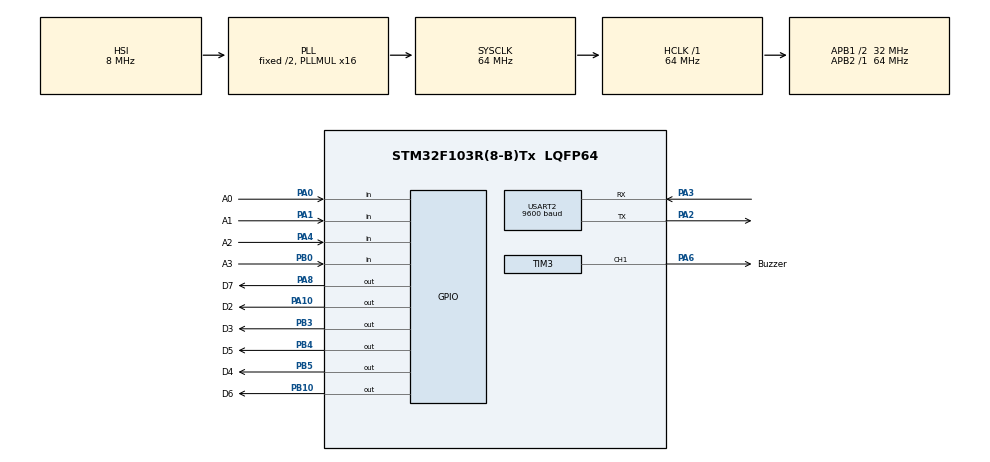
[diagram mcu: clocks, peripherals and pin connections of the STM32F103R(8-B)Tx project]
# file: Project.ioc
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Mcu.Family=STM32F1
Mcu.Name=STM32F103R(8-B)Tx
Mcu.Package=LQFP64
NVIC.PriorityGroup=NVIC_PRIORITYGROUP_4
NVIC.TIM2_IRQn=true\:0\:0\:false\:false\:true\:true\:true
NVIC.TIM3_IRQn=true\:0\:0\:false\:false\:true\:true\:true
NVIC.USART2_IRQn=true\:0\:0\:false\:false\:true\:true\:true
PA0-WKUP.GPIO_Label=A0
PA0-WKUP.GPIO_PuPd=GPIO_PULLUP
PA0-WKUP.Signal=GPIO_Input
PA1.GPIO_Label=A1
PA1.GPIO_PuPd=GPIO_PULLUP
PA1.Signal=GPIO_Input
PA10.GPIO_Label=D2
PA10.Signal=GPIO_Output
PA13.Mode=Serial_Wire
PA13.Signal=SYS_JTMS-SWDIO
PA14.Mode=Serial_Wire
PA14.Signal=SYS_JTCK-SWCLK
PA2.Mode=Asynchronous
PA2.Signal=USART2_TX
PA3.Mode=Asynchronous
PA3.Signal=USART2_RX
PA4.GPIO_Label=A2
PA4.GPIO_PuPd=GPIO_PULLUP
PA4.Signal=GPIO_Input
PA6.GPIO_Label=Buzzer
PA6.Signal=S_TIM3_CH1
PA8.GPIO_Label=D7
PA8.Signal=GPIO_Output
PB0.GPIO_Label=A3
PB0.GPIO_PuPd=GPIO_PULLUP
PB0.Signal=GPIO_Input
PB10.GPIO_Label=D6
PB10.Signal=GPIO_Output
PB3.GPIO_Label=D3
PB3.Signal=GPIO_Output
PB4.GPIO_Label=D5
PB4.Signal=GPIO_Output
PB5.GPIO_Label=D4
PB5.Signal=GPIO_Output
ProjectManager.HeapSize=0x200
ProjectManager.StackSize=0x400
ProjectManager.TargetToolchain=STM32CubeIDE
RCC.AHBFreq_Value=64000000
RCC.APB1CLKDivider=RCC_HCLK_DIV2
RCC.APB1Freq_Value=32000000
RCC.APB1TimFreq_Value=64000000
RCC.APB2Freq_Value=64000000
RCC.APB2TimFreq_Value=64000000
RCC.HCLKFreq_Value=64000000
RCC.PLLMUL=RCC_PLL_MUL16
RCC.SYSCLKFreq_VALUE=64000000
RCC.SYSCLKSource=RCC_SYSCLKSOURCE_PLLCLK
RCC.USBFreq_Value=64000000
SH.S_TIM3_CH1.0=TIM3_CH1,PWM Generation1 CH1
TIM2.Period=9
TIM2.Prescaler=63999
TIM3.Channel-PWM\ Generation1\ CH1=TIM_CHANNEL_1
TIM3.Period=9
TIM3.Prescaler=63999
USART2.BaudRate=9600
USART2.VirtualMode=VM_ASYNC
VP_TIM2_VS_ClockSourceINT.Mode=Internal
VP_TIM3_VS_ClockSourceINT.Mode=Internal
board=custom

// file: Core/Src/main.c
/* USER CODE BEGIN Header */
/**
  ******************************************************************************
  * @file           : main.c
  * @brief          : Main program body
  ******************************************************************************
  * @attention
  *
  * <h2><center>&copy; Copyright (c) 2022 STMicroelectronics.
  * All rights reserved.</center></h2>
  *
  * This software component is licensed by ST under BSD 3-Clause license,
  * the "License"; You may not use this file except in compliance with the
  * License. You may obtain a copy of the License at:
  *                        opensource.org/licenses/BSD-3-Clause
  *
  ******************************************************************************
  */
/* USER CODE END Header */
#include "main.h"

/* USER CODE BEGIN Includes */
#include "button.h"
#include "software_timer.h"
#include "mode1.h"
#include "mode2.h"
#include "mode3.h"
#include "mode4.h"
#include "global.h"
#include "fsm.h"
/* USER CODE END Includes */

TIM_HandleTypeDef htim2;
TIM_HandleTypeDef htim3;

UART_HandleTypeDef huart2;

void SystemClock_Config(void);
static void MX_GPIO_Init(void);
static void MX_TIM2_Init(void);
static void MX_TIM3_Init(void);
static void MX_USART2_UART_Init(void);

int main(void)
{

  /* MCU Configuration--------------------------------------------------------*/

  /* Reset of all peripherals, Initializes the Flash interface and the Systick. */
  HAL_Init();

  /* Configure the system clock */
  SystemClock_Config();

  /* Initialize all configured peripherals */
  MX_GPIO_Init();
  MX_TIM2_Init();
  MX_TIM3_Init();
  MX_USART2_UART_Init();
  /* USER CODE BEGIN 2 */
  HAL_TIM_Base_Start_IT (& htim2 ) ;
  HAL_TIM_Base_Start_IT(&htim3);
  /* USER CODE END 2 */

  /* Infinite loop */
  /* USER CODE BEGIN WHILE */
  HAL_TIM_PWM_Start(&htim3, TIM_CHANNEL_1);
  setTimer(100);
  setTimer2(50);
  setTimer3(50);
  setTimer4(50);
  while (1)
  {
	  fsm_run();
    /* USER CODE END WHILE */

  }
}

void SystemClock_Config(void)
{
  RCC_OscInitTypeDef RCC_OscInitStruct = {0};
  RCC_ClkInitTypeDef RCC_ClkInitStruct = {0};

  /** Initializes the RCC Oscillators according to the specified parameters
  * in the RCC_OscInitTypeDef structure.
  */
  RCC_OscInitStruct.OscillatorType = RCC_OSCILLATORTYPE_HSI;
  RCC_OscInitStruct.HSIState = RCC_HSI_ON;
  RCC_OscInitStruct.HSICalibrationValue = RCC_HSICALIBRATION_DEFAULT;
  RCC_OscInitStruct.PLL.PLLState = RCC_PLL_ON;
  RCC_OscInitStruct.PLL.PLLSource = RCC_PLLSOURCE_HSI_DIV2;
  RCC_OscInitStruct.PLL.PLLMUL = RCC_PLL_MUL16;
  if (HAL_RCC_OscConfig(&RCC_OscInitStruct) != HAL_OK)
  {
    Error_Handler();
  }
  /** Initializes the CPU, AHB and APB buses clocks
  */
  RCC_ClkInitStruct.ClockType = RCC_CLOCKTYPE_HCLK|RCC_CLOCKTYPE_SYSCLK
                              |RCC_CLOCKTYPE_PCLK1|RCC_CLOCKTYPE_PCLK2;
  RCC_ClkInitStruct.SYSCLKSource = RCC_SYSCLKSOURCE_PLLCLK;
  RCC_ClkInitStruct.AHBCLKDivider = RCC_SYSCLK_DIV1;
  RCC_ClkInitStruct.APB1CLKDivider = RCC_HCLK_DIV2;
  RCC_ClkInitStruct.APB2CLKDivider = RCC_HCLK_DIV1;

  if (HAL_RCC_ClockConfig(&RCC_ClkInitStruct, FLASH_LATENCY_2) != HAL_OK)
  {
    Error_Handler();
  }
}

static void MX_TIM2_Init(void)
{

  TIM_ClockConfigTypeDef sClockSourceConfig = {0};
  TIM_MasterConfigTypeDef sMasterConfig = {0};

  htim2.Instance = TIM2;
  htim2.Init.Prescaler = 63999;
  htim2.Init.CounterMode = TIM_COUNTERMODE_UP;
  htim2.Init.Period = 9;
  htim2.Init.ClockDivision = TIM_CLOCKDIVISION_DIV1;
  htim2.Init.AutoReloadPreload = TIM_AUTORELOAD_PRELOAD_DISABLE;
  if (HAL_TIM_Base_Init(&htim2) != HAL_OK)
  {
    Error_Handler();
  }
  sClockSourceConfig.ClockSource = TIM_CLOCKSOURCE_INTERNAL;
  if (HAL_TIM_ConfigClockSource(&htim2, &sClockSourceConfig) != HAL_OK)
  {
    Error_Handler();
  }
  sMasterConfig.MasterOutputTrigger = TIM_TRGO_RESET;
  sMasterConfig.MasterSlaveMode = TIM_MASTERSLAVEMODE_DISABLE;
  if (HAL_TIMEx_MasterConfigSynchronization(&htim2, &sMasterConfig) != HAL_OK)
  {
    Error_Handler();
  }

}

static void MX_TIM3_Init(void)
{

  TIM_ClockConfigTypeDef sClockSourceConfig = {0};
  TIM_MasterConfigTypeDef sMasterConfig = {0};
  TIM_OC_InitTypeDef sConfigOC = {0};

  htim3.Instance = TIM3;
  htim3.Init.Prescaler = 63999;
  htim3.Init.CounterMode = TIM_COUNTERMODE_UP;
  htim3.Init.Period = 9;
  htim3.Init.ClockDivision = TIM_CLOCKDIVISION_DIV1;
  htim3.Init.AutoReloadPreload = TIM_AUTORELOAD_PRELOAD_DISABLE;
  if (HAL_TIM_Base_Init(&htim3) != HAL_OK)
  {
    Error_Handler();
  }
  sClockSourceConfig.ClockSource = TIM_CLOCKSOURCE_INTERNAL;
  if (HAL_TIM_ConfigClockSource(&htim3, &sClockSourceConfig) != HAL_OK)
  {
    Error_Handler();
  }
  if (HAL_TIM_PWM_Init(&htim3) != HAL_OK)
  {
    Error_Handler();
  }
  sMasterConfig.MasterOutputTrigger = TIM_TRGO_RESET;
  sMasterConfig.MasterSlaveMode = TIM_MASTERSLAVEMODE_DISABLE;
  if (HAL_TIMEx_MasterConfigSynchronization(&htim3, &sMasterConfig) != HAL_OK)
  {
    Error_Handler();
  }
  sConfigOC.OCMode = TIM_OCMODE_PWM1;
  sConfigOC.Pulse = 0;
  sConfigOC.OCPolarity = TIM_OCPOLARITY_HIGH;
  sConfigOC.OCFastMode = TIM_OCFAST_DISABLE;
  if (HAL_TIM_PWM_ConfigChannel(&htim3, &sConfigOC, TIM_CHANNEL_1) != HAL_OK)
  {
    Error_Handler();
  }
  HAL_TIM_MspPostInit(&htim3);

}

static void MX_USART2_UART_Init(void)
{

  huart2.Instance = USART2;
  huart2.Init.BaudRate = 9600;
  huart2.Init.WordLength = UART_WORDLENGTH_8B;
  huart2.Init.StopBits = UART_STOPBITS_1;
  huart2.Init.Parity = UART_PARITY_NONE;
  huart2.Init.Mode = UART_MODE_TX_RX;
  huart2.Init.HwFlowCtl = UART_HWCONTROL_NONE;
  huart2.Init.OverSampling = UART_OVERSAMPLING_16;
  if (HAL_UART_Init(&huart2) != HAL_OK)
  {
    Error_Handler();
  }

}

static void MX_GPIO_Init(void)
{
  GPIO_InitTypeDef GPIO_InitStruct = {0};

  /* GPIO Ports Clock Enable */
  __HAL_RCC_GPIOA_CLK_ENABLE();
  __HAL_RCC_GPIOB_CLK_ENABLE();

  /*Configure GPIO pin Output Level */
  HAL_GPIO_WritePin(GPIOB, D6_Pin|D3_Pin|D5_Pin|D4_Pin, GPIO_PIN_RESET);

  /*Configure GPIO pin Output Level */
  HAL_GPIO_WritePin(GPIOA, D7_Pin|D2_Pin, GPIO_PIN_RESET);

  /*Configure GPIO pins : A0_Pin A1_Pin A2_Pin */
  GPIO_InitStruct.Pin = A0_Pin|A1_Pin|A2_Pin;
  GPIO_InitStruct.Mode = GPIO_MODE_INPUT;
  GPIO_InitStruct.Pull = GPIO_PULLUP;
  HAL_GPIO_Init(GPIOA, &GPIO_InitStruct);

  /*Configure GPIO pin : A3_Pin */
  GPIO_InitStruct.Pin = A3_Pin;
  GPIO_InitStruct.Mode = GPIO_MODE_INPUT;
  GPIO_InitStruct.Pull = GPIO_PULLUP;
  HAL_GPIO_Init(A3_GPIO_Port, &GPIO_InitStruct);

  /*Configure GPIO pins : D6_Pin D3_Pin D5_Pin D4_Pin */
  GPIO_InitStruct.Pin = D6_Pin|D3_Pin|D5_Pin|D4_Pin;
  GPIO_InitStruct.Mode = GPIO_MODE_OUTPUT_PP;
  GPIO_InitStruct.Pull = GPIO_NOPULL;
  GPIO_InitStruct.Speed = GPIO_SPEED_FREQ_LOW;
  HAL_GPIO_Init(GPIOB, &GPIO_InitStruct);

  /*Configure GPIO pins : D7_Pin D2_Pin */
  GPIO_InitStruct.Pin = D7_Pin|D2_Pin;
  GPIO_InitStruct.Mode = GPIO_MODE_OUTPUT_PP;
  GPIO_InitStruct.Pull = GPIO_NOPULL;
  GPIO_InitStruct.Speed = GPIO_SPEED_FREQ_LOW;
  HAL_GPIO_Init(GPIOA, &GPIO_InitStruct);

}

/* USER CODE BEGIN 4 */
void HAL_TIM_PeriodElapsedCallback ( TIM_HandleTypeDef * htim ){
timerRun();
timerRun2();
timerRun3();
timerRun4();
getKeyInput();
getKeyInput2();
getKeyInput3();
getKeyInput4();
}
/* USER CODE END 4 */

void Error_Handler(void)
{
  __disable_irq();
  while (1)
  {
  }
}

/************************ (C) COPYRIGHT STMicroelectronics *****END OF FILE****/
